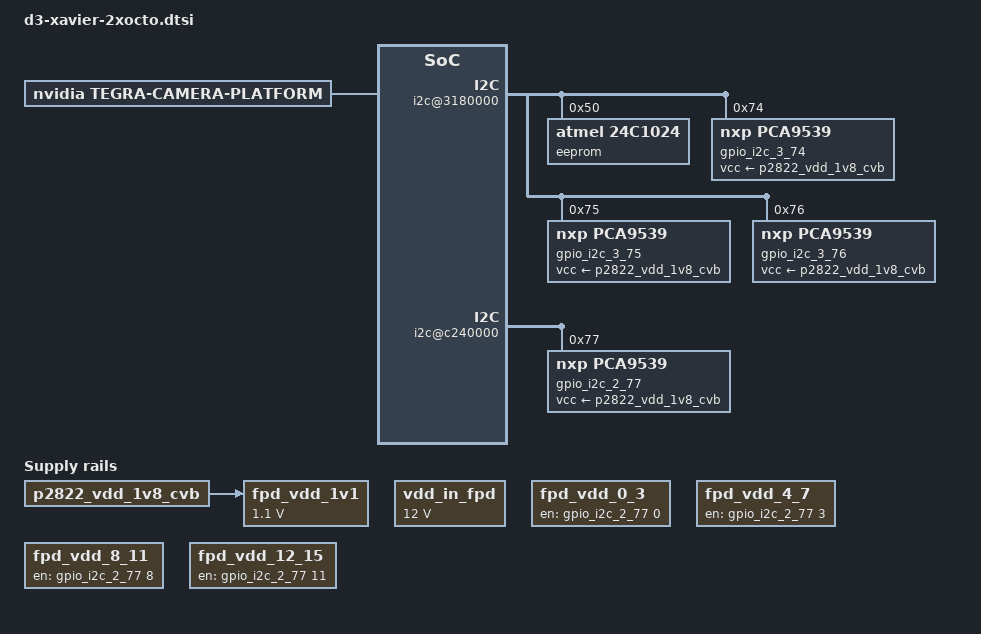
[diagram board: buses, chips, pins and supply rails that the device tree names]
/*
 * Copyright (c) 2018-2019, D3 Engineering.  All rights reserved.
 *
 * This program is free software; you can redistribute it and/or modify
 * it under the terms of the GNU General Public License as published by
 * the Free Software Foundation; version 2 of the License.
 *
 * This program is distributed in the hope that it will be useful, but WITHOUT
 * ANY WARRANTY; without even the implied warranty of MERCHANTABILITY or
 * FITNESS FOR A PARTICULAR PURPOSE.  See the GNU General Public License for
 * more details.
 */
#include "d3-xavier.dtsi"

/ {

    /* I2C_GP3, DT alias: i2c3 (clock: F53, data: E53) */
    i2c@3180000 {

        /* Microchip 24AA1026 (U26) */
        eeprom@50 {
            status = "okay";
            compatible = "atmel,24c1024";
            reg = <0x50>;
            pagesize = <128>;
        };

        /* I2C GPIO expander PCAL9539A (U34) */
        gpio_i2c_3_74: gpio@74 {
            status = "okay";
            compatible = "nxp,pca9539";
            reg = <0x74>;
            #gpio-cells = <2>;
            gpio-controller;
            vcc-supply = <&p2822_vdd_1v8_cvb>;
        };

        /* I2C GPIO expander PCAL9539A (U35) */
        gpio_i2c_3_75: gpio@75 {
            status = "okay";
            compatible = "nxp,pca9539";
            reg = <0x75>;
            #gpio-cells = <2>;
            gpio-controller;
            vcc-supply = <&p2822_vdd_1v8_cvb>;
        };

        /* I2C GPIO expander PCAL9539A (U36) */
        gpio_i2c_3_76: gpio@76 {
            status = "okay";
            compatible = "nxp,pca9539";
            reg = <0x76>;
            #gpio-cells = <2>;
            gpio-controller;
            vcc-supply = <&p2822_vdd_1v8_cvb>;
        };

        /* ub960 deserializers will be included here (U1, U4, U7, U10) */
    };

    /* I2C_GP2, DT alias: i2c2 (clock: J61, data: K61) */
    i2c@c240000 {

        /* I2C GPIO expander PCAL9539A (U37) */
        gpio_i2c_2_77: gpio@77 {
            status = "okay";
            compatible = "nxp,pca9539";
            reg = <0x77>;
            #gpio-cells = <2>;
            gpio-controller;
            vcc-supply = <&p2822_vdd_1v8_cvb>;
        };
    };

    fixed-regulators {
        /* 1.1V regulator (U21) */
        fpd_vdd_1v1: regulator@300 {
            status = "okay";
            reg = <0x12c>;
            regulator-name = "fpd-1v1";
            compatible = "regulator-fixed";
            regulator-always-on;
            regulator-min-microvolt = <1100000>;
            regulator-max-microvolt = <1100000>;
            vin-supply = <&p2822_vdd_1v8_cvb>;
        };
        /* J19: 1-2 = VDD_12V0, 2-3 = VDD_5V0 */
        vdd_in_fpd: regulator@301 {
            compatible = "regulator-fixed";
            reg = <301>;
            regulator-name = "vdd_in_fpd";
            regulator-min-microvolt = <12000000>;
            regulator-max-microvolt = <12000000>;
        };

        /* FPD-Link 0-3 regulator (U13) */
        fpd_vdd_0_3: regulator@302 {
            status = "okay";
            reg = <302>;
            regulator-name = "fpd_vdd_1_4";
            compatible = "regulator-fixed";
            enable-active-high;
            regulator-always-on;
            gpio = <&gpio_i2c_2_77 0 GPIO_ACTIVE_HIGH>;
        };
        /* FPD-Link 4-7 regulator (U16) */
        fpd_vdd_4_7: regulator@303 {
            status = "okay";
            reg = <303>;
            regulator-name = "fpd_vdd_5_8";
            compatible = "regulator-fixed";
            enable-active-high;
            regulator-always-on;
            gpio = <&gpio_i2c_2_77 3 GPIO_ACTIVE_HIGH>;
        };
        /* FPD-Link 8-11 regulator (U17) */
        fpd_vdd_8_11: regulator@304 {
            status = "okay";
            reg = <304>;
            regulator-name = "fpd_vdd_9_12";
            compatible = "regulator-fixed";
            enable-active-high;
            regulator-always-on;
            gpio = <&gpio_i2c_2_77 8 GPIO_ACTIVE_HIGH>;
        };
        /* FPD-Link 12-15 regulator (U20) */
        fpd_vdd_12_15: regulator@305 {
            status = "okay";
            reg = <305>;
            regulator-name = "fpd_vdd_13_16";
            compatible = "regulator-fixed";
            enable-active-high;
            regulator-always-on;
            gpio = <&gpio_i2c_2_77 11 GPIO_ACTIVE_HIGH>;
        };
    };
    /* This is used by nvcamera-daemon (and probably the argus
     * daemon). This is not needed if you only need v4l2. */
    tegra-camera-platform {
        compatible = "nvidia, tegra-camera-platform";

        /**
        * Physical settings to calculate max ISO BW
        *
        * num_csi_lanes = <>;
        * Total number of CSI lanes when all cameras are active
        *
        * max_lane_speed = <>;
        * Max lane speed in Kbit/s
        *
        * min_bits_per_pixel = <>;
        * Min bits per pixel
        *
        * vi_peak_byte_per_pixel = <>;
        * Max byte per pixel for the VI ISO case
        *
        * vi_bw_margin_pct = <>;
        * Vi bandwidth margin in percentage
        *
        * max_pixel_rate = <>;
        * Max pixel rate in Kpixel/s for the ISP ISO case
        *
        * isp_peak_byte_per_pixel = <>;
        * Max byte per pixel for the ISP ISO case
        *
        * isp_bw_margin_pct = <>;
        * Isp bandwidth margin in percentage
        */
        num_csi_lanes = <16>;
        max_lane_speed = <1500000>;
        min_bits_per_pixel = <10>;
        /* max_pixel_rate = <222750>; */
        /* max_pixel_rate = <445500>; */
        max_pixel_rate = <750000>;

        vi_peak_byte_per_pixel = <2>;
        vi_bw_margin_pct = <25>;
        isp_peak_byte_per_pixel = <5>;
        isp_bw_margin_pct = <25>;
    };
};

&vi_base {
    num-channels = <16>;
    vi_ports: ports {
        #address-cells = <1>;
        #size-cells = <0>;
        /* ports will be included here */
    };
};

&csi_base {
    num-channels = <16>;
    /* channels will be included here */
};
